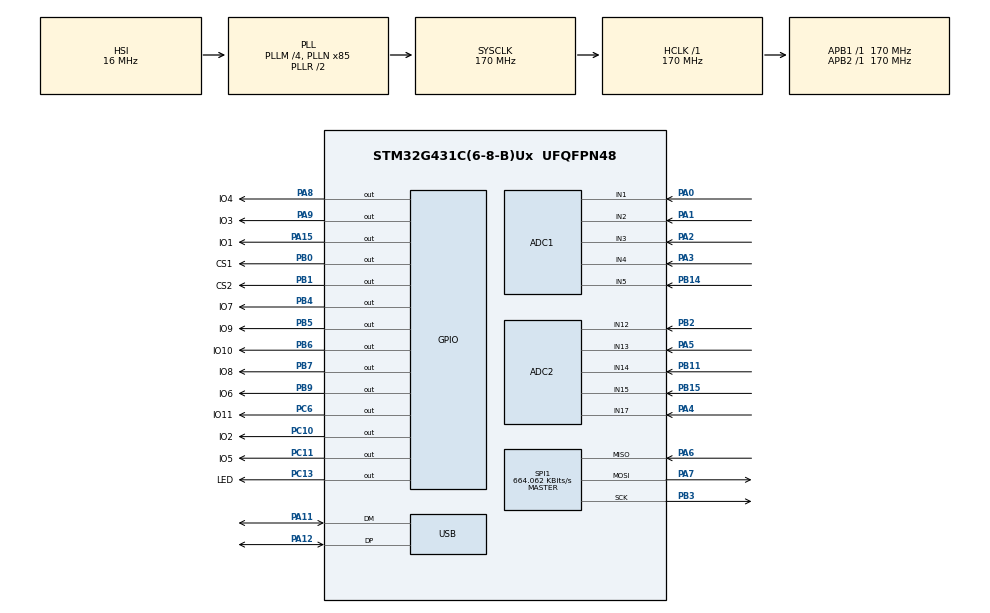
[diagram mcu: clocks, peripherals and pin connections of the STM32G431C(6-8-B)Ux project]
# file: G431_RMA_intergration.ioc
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ADC1.Channel-0\#ChannelRegularConversion=ADC_CHANNEL_5
ADC1.Channel-1\#ChannelRegularConversion=ADC_CHANNEL_1
ADC1.Channel-2\#ChannelRegularConversion=ADC_CHANNEL_2
ADC1.Channel-3\#ChannelRegularConversion=ADC_CHANNEL_3
ADC1.Channel-4\#ChannelRegularConversion=ADC_CHANNEL_4
ADC1.ContinuousConvMode=ENABLE
ADC1.DMAContinuousRequests=ENABLE
ADC1.NbrOfConversion=5
ADC1.NbrOfConversionFlag=1
ADC1.OffsetNumber-0\#ChannelRegularConversion=ADC_OFFSET_NONE
ADC1.OffsetNumber-1\#ChannelRegularConversion=ADC_OFFSET_NONE
ADC1.OffsetNumber-2\#ChannelRegularConversion=ADC_OFFSET_NONE
ADC1.OffsetNumber-3\#ChannelRegularConversion=ADC_OFFSET_NONE
ADC1.OffsetNumber-4\#ChannelRegularConversion=ADC_OFFSET_NONE
ADC1.Rank-0\#ChannelRegularConversion=1
ADC1.Rank-1\#ChannelRegularConversion=2
ADC1.Rank-2\#ChannelRegularConversion=3
ADC1.Rank-3\#ChannelRegularConversion=4
ADC1.Rank-4\#ChannelRegularConversion=5
ADC1.SamplingTime-0\#ChannelRegularConversion=ADC_SAMPLETIME_92CYCLES_5
ADC1.SamplingTime-1\#ChannelRegularConversion=ADC_SAMPLETIME_92CYCLES_5
ADC1.SamplingTime-2\#ChannelRegularConversion=ADC_SAMPLETIME_92CYCLES_5
ADC1.SamplingTime-3\#ChannelRegularConversion=ADC_SAMPLETIME_92CYCLES_5
ADC1.SamplingTime-4\#ChannelRegularConversion=ADC_SAMPLETIME_92CYCLES_5
ADC1.master=1
ADC2.Channel-0\#ChannelRegularConversion=ADC_CHANNEL_15
ADC2.Channel-1\#ChannelRegularConversion=ADC_CHANNEL_14
ADC2.Channel-2\#ChannelRegularConversion=ADC_CHANNEL_12
ADC2.Channel-3\#ChannelRegularConversion=ADC_CHANNEL_13
ADC2.Channel-4\#ChannelRegularConversion=ADC_CHANNEL_17
ADC2.ContinuousConvMode=ENABLE
ADC2.DMAContinuousRequests=ENABLE
ADC2.NbrOfConversion=5
ADC2.NbrOfConversionFlag=1
ADC2.OffsetNumber-0\#ChannelRegularConversion=ADC_OFFSET_NONE
ADC2.OffsetNumber-1\#ChannelRegularConversion=ADC_OFFSET_NONE
ADC2.OffsetNumber-2\#ChannelRegularConversion=ADC_OFFSET_NONE
ADC2.OffsetNumber-3\#ChannelRegularConversion=ADC_OFFSET_NONE
ADC2.OffsetNumber-4\#ChannelRegularConversion=ADC_OFFSET_NONE
ADC2.Rank-0\#ChannelRegularConversion=1
ADC2.Rank-1\#ChannelRegularConversion=2
ADC2.Rank-2\#ChannelRegularConversion=3
ADC2.Rank-3\#ChannelRegularConversion=4
ADC2.Rank-4\#ChannelRegularConversion=5
ADC2.SamplingTime-0\#ChannelRegularConversion=ADC_SAMPLETIME_92CYCLES_5
ADC2.SamplingTime-1\#ChannelRegularConversion=ADC_SAMPLETIME_92CYCLES_5
ADC2.SamplingTime-2\#ChannelRegularConversion=ADC_SAMPLETIME_92CYCLES_5
ADC2.SamplingTime-3\#ChannelRegularConversion=ADC_SAMPLETIME_92CYCLES_5
ADC2.SamplingTime-4\#ChannelRegularConversion=ADC_SAMPLETIME_92CYCLES_5
Dma.ADC1.1.Direction=DMA_PERIPH_TO_MEMORY
Dma.ADC1.1.EventEnable=DISABLE
Dma.ADC1.1.Instance=DMA2_Channel1
Dma.ADC1.1.MemDataAlignment=DMA_MDATAALIGN_HALFWORD
Dma.ADC1.1.MemInc=DMA_MINC_ENABLE
Dma.ADC1.1.Mode=DMA_CIRCULAR
Dma.ADC1.1.PeriphDataAlignment=DMA_PDATAALIGN_HALFWORD
Dma.ADC1.1.PeriphInc=DMA_PINC_DISABLE
Dma.ADC1.1.Polarity=HAL_DMAMUX_REQ_GEN_RISING
Dma.ADC1.1.Priority=DMA_PRIORITY_LOW
Dma.ADC1.1.RequestNumber=1
Dma.ADC1.1.SignalID=NONE
Dma.ADC1.1.SyncEnable=DISABLE
Dma.ADC1.1.SyncPolarity=HAL_DMAMUX_SYNC_NO_EVENT
Dma.ADC1.1.SyncRequestNumber=1
Dma.ADC1.1.SyncSignalID=NONE
Dma.ADC2.0.Direction=DMA_PERIPH_TO_MEMORY
Dma.ADC2.0.EventEnable=DISABLE
Dma.ADC2.0.Instance=DMA1_Channel1
Dma.ADC2.0.MemDataAlignment=DMA_MDATAALIGN_HALFWORD
Dma.ADC2.0.MemInc=DMA_MINC_ENABLE
Dma.ADC2.0.Mode=DMA_CIRCULAR
Dma.ADC2.0.PeriphDataAlignment=DMA_PDATAALIGN_HALFWORD
Dma.ADC2.0.PeriphInc=DMA_PINC_DISABLE
Dma.ADC2.0.Polarity=HAL_DMAMUX_REQ_GEN_RISING
Dma.ADC2.0.Priority=DMA_PRIORITY_LOW
Dma.ADC2.0.RequestNumber=1
Dma.ADC2.0.SignalID=NONE
Dma.ADC2.0.SyncEnable=DISABLE
Dma.ADC2.0.SyncPolarity=HAL_DMAMUX_SYNC_NO_EVENT
Dma.ADC2.0.SyncRequestNumber=1
Dma.ADC2.0.SyncSignalID=NONE
Dma.Request0=ADC2
Dma.Request1=ADC1
FREERTOS.BinarySemaphores01=dataBinarySem,Dynamic,NULL
FREERTOS.INCLUDE_vTaskDelayUntil=1
FREERTOS.Tasks01=defaultTask,0,1024,StartDefaultTask,Default,NULL,Dynamic,NULL,NULL;sampleTask,2,128,SampleTask,Default,NULL,Dynamic,NULL,NULL
FREERTOS.configENABLE_FPU=0
FREERTOS.configTOTAL_HEAP_SIZE=10240
Mcu.Family=STM32G4
Mcu.Name=STM32G431C(6-8-B)Ux
Mcu.Package=UFQFPN48
NVIC.DMA1_Channel1_IRQn=true\:5\:0\:false\:false\:true\:true\:false\:true\:true
NVIC.DMA2_Channel1_IRQn=true\:5\:0\:false\:false\:true\:true\:false\:true\:true
NVIC.PriorityGroup=NVIC_PRIORITYGROUP_4
NVIC.TIM1_TRG_COM_TIM17_IRQn=true\:15\:0\:false\:false\:true\:false\:false\:true\:true
NVIC.TimeBase=TIM1_TRG_COM_TIM17_IRQn
NVIC.TimeBaseIP=TIM17
NVIC.USB_LP_IRQn=true\:5\:0\:false\:false\:true\:true\:false\:true\:true
PA0.Mode=IN1-Single-Ended
PA0.Signal=ADC1_IN1
PA1.Mode=IN2-Single-Ended
PA1.Signal=ADC1_IN2
PA11.Mode=Device
PA11.Signal=USB_DM
PA12.Mode=Device
PA12.Signal=USB_DP
PA13.Mode=Serial_Wire
PA13.Signal=SYS_JTMS-SWDIO
PA14.Mode=Serial_Wire
PA14.Signal=SYS_JTCK-SWCLK
PA15.GPIO_Label=IO1
PA15.GPIO_ModeDefaultOutputPP=GPIO_MODE_OUTPUT_PP
PA15.GPIO_PuPd=GPIO_PULLUP
PA15.GPIO_Speed=GPIO_SPEED_FREQ_VERY_HIGH
PA15.PinState=GPIO_PIN_SET
PA15.Signal=GPIO_Output
PA2.Mode=IN3-Single-Ended
PA2.Signal=ADC1_IN3
PA3.Mode=IN4-Single-Ended
PA3.Signal=ADC1_IN4
PA4.Mode=IN17-Single-Ended
PA4.Signal=ADC2_IN17
PA5.Mode=IN13-Single-Ended
PA5.Signal=ADC2_IN13
PA6.Mode=Full_Duplex_Master
PA6.Signal=SPI1_MISO
PA7.Mode=Full_Duplex_Master
PA7.Signal=SPI1_MOSI
PA8.GPIO_Label=IO4
PA8.GPIO_ModeDefaultOutputPP=GPIO_MODE_OUTPUT_PP
PA8.GPIO_PuPd=GPIO_PULLUP
PA8.GPIO_Speed=GPIO_SPEED_FREQ_VERY_HIGH
PA8.PinState=GPIO_PIN_SET
PA8.Signal=GPIO_Output
PA9.GPIO_Label=IO3
PA9.GPIO_ModeDefaultOutputPP=GPIO_MODE_OUTPUT_PP
PA9.GPIO_PuPd=GPIO_PULLUP
PA9.GPIO_Speed=GPIO_SPEED_FREQ_VERY_HIGH
PA9.PinState=GPIO_PIN_SET
PA9.Signal=GPIO_Output
PB0.GPIO_Label=CS1
PB0.GPIO_PuPd=GPIO_PULLUP
PB0.GPIO_Speed=GPIO_SPEED_FREQ_VERY_HIGH
PB0.PinState=GPIO_PIN_SET
PB0.Signal=GPIO_Output
PB1.GPIO_Label=CS2
PB1.GPIO_PuPd=GPIO_PULLUP
PB1.GPIO_Speed=GPIO_SPEED_FREQ_VERY_HIGH
PB1.PinState=GPIO_PIN_SET
PB1.Signal=GPIO_Output
PB11.Mode=IN14-Single-Ended
PB11.Signal=ADC2_IN14
PB14.Mode=IN5-Single-Ended
PB14.Signal=ADC1_IN5
PB15.Mode=IN15-Single-Ended
PB15.Signal=ADC2_IN15
PB2.Mode=IN12-Single-Ended
PB2.Signal=ADC2_IN12
PB3.Mode=Full_Duplex_Master
PB3.Signal=SPI1_SCK
PB4.GPIO_Label=IO7
PB4.GPIO_ModeDefaultOutputPP=GPIO_MODE_OUTPUT_PP
PB4.GPIO_PuPd=GPIO_PULLUP
PB4.GPIO_Speed=GPIO_SPEED_FREQ_VERY_HIGH
PB4.PinState=GPIO_PIN_SET
PB4.Signal=GPIO_Output
PB5.GPIO_Label=IO9
PB5.GPIO_ModeDefaultOutputPP=GPIO_MODE_OUTPUT_PP
PB5.GPIO_PuPd=GPIO_PULLUP
PB5.GPIO_Speed=GPIO_SPEED_FREQ_VERY_HIGH
PB5.PinState=GPIO_PIN_SET
PB5.Signal=GPIO_Output
PB6.GPIO_Label=IO10
PB6.GPIO_ModeDefaultOutputPP=GPIO_MODE_OUTPUT_PP
PB6.GPIO_PuPd=GPIO_PULLUP
PB6.GPIO_Speed=GPIO_SPEED_FREQ_VERY_HIGH
PB6.PinState=GPIO_PIN_SET
PB6.Signal=GPIO_Output
PB7.GPIO_Label=IO8
PB7.GPIO_ModeDefaultOutputPP=GPIO_MODE_OUTPUT_PP
PB7.GPIO_PuPd=GPIO_PULLUP
PB7.GPIO_Speed=GPIO_SPEED_FREQ_VERY_HIGH
PB7.PinState=GPIO_PIN_SET
PB7.Signal=GPIO_Output
PB9.GPIO_Label=IO6
PB9.GPIO_ModeDefaultOutputPP=GPIO_MODE_OUTPUT_PP
PB9.GPIO_PuPd=GPIO_PULLUP
PB9.GPIO_Speed=GPIO_SPEED_FREQ_VERY_HIGH
PB9.PinState=GPIO_PIN_SET
PB9.Signal=GPIO_Output
PC10.GPIO_Label=IO2
PC10.GPIO_ModeDefaultOutputPP=GPIO_MODE_OUTPUT_PP
PC10.GPIO_PuPd=GPIO_PULLUP
PC10.GPIO_Speed=GPIO_SPEED_FREQ_VERY_HIGH
PC10.PinState=GPIO_PIN_SET
PC10.Signal=GPIO_Output
PC11.GPIO_Label=IO5
PC11.GPIO_ModeDefaultOutputPP=GPIO_MODE_OUTPUT_PP
PC11.GPIO_PuPd=GPIO_PULLUP
PC11.GPIO_Speed=GPIO_SPEED_FREQ_VERY_HIGH
PC11.PinState=GPIO_PIN_SET
PC11.Signal=GPIO_Output
PC13.GPIO_Label=LED
PC13.GPIO_PuPd=GPIO_PULLUP
PC13.PinState=GPIO_PIN_SET
PC13.Signal=GPIO_Output
PC6.GPIO_Label=IO11
PC6.GPIO_ModeDefaultOutputPP=GPIO_MODE_OUTPUT_PP
PC6.GPIO_PuPd=GPIO_PULLUP
PC6.GPIO_Speed=GPIO_SPEED_FREQ_VERY_HIGH
PC6.PinState=GPIO_PIN_SET
PC6.Signal=GPIO_Output
PF0-OSC_IN.Mode=HSE-External-Oscillator
PF0-OSC_IN.Signal=RCC_OSC_IN
PF1-OSC_OUT.Mode=HSE-External-Oscillator
PF1-OSC_OUT.Signal=RCC_OSC_OUT
ProjectManager.HeapSize=0x100
ProjectManager.StackSize=0x1000
ProjectManager.TargetToolchain=MDK-ARM V5.32
RCC.ADC12Freq_Value=170000000
RCC.AHBFreq_Value=170000000
RCC.APB1Freq_Value=170000000
RCC.APB1TimFreq_Value=170000000
RCC.APB2Freq_Value=170000000
RCC.APB2TimFreq_Value=170000000
RCC.CK48CLockSelection=RCC_USBCLKSOURCE_HSI48
RCC.CortexFreq_Value=170000000
RCC.EXTERNAL_CLOCK_VALUE=12288000
RCC.HCLKFreq_Value=170000000
RCC.HSE_VALUE=8000000
RCC.HSI48_VALUE=48000000
RCC.HSI_VALUE=16000000
RCC.LSE_VALUE=32768
RCC.PLLM=RCC_PLLM_DIV4
RCC.PLLN=85
RCC.SYSCLKFreq_VALUE=170000000
RCC.SYSCLKSource=RCC_SYSCLKSOURCE_PLLCLK
RCC.USBFreq_Value=48000000
RCC.VCOOutputFreq_Value=340000000
SPI1.BaudRatePrescaler=SPI_BAUDRATEPRESCALER_256
SPI1.CalculateBaudRate=664.062 KBits/s
SPI1.DataSize=SPI_DATASIZE_8BIT
SPI1.Direction=SPI_DIRECTION_2LINES
SPI1.Mode=SPI_MODE_MASTER
SPI1.VirtualType=VM_MASTER
TIM7.Prescaler=169
USB_DEVICE.CLASS_NAME_FS=CDC
USB_DEVICE.VirtualMode=Cdc
USB_DEVICE.VirtualModeFS=Cdc_FS
VP_FREERTOS_VS_CMSIS_V1.Mode=CMSIS_V1
VP_SYS_VS_DBSignals.Mode=DisableDeadBatterySignals
VP_SYS_VS_tim17.Mode=TIM17
VP_TIM7_VS_ClockSourceINT.Mode=Enable_Timer
VP_USB_DEVICE_VS_USB_DEVICE_CDC_FS.Mode=CDC_FS
board=custom

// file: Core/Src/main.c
/* USER CODE BEGIN Header */
/**
  ******************************************************************************
  * @file           : main.c
  * @brief          : Main program body
  ******************************************************************************
  * @attention
  *
  * Copyright (c) 2025 STMicroelectronics.
  * All rights reserved.
  *
  * This software is licensed under terms that can be found in the LICENSE file
  * in the root directory of this software component.
  * If no LICENSE file comes with this software, it is provided AS-IS.
  *
  ******************************************************************************
  */
/* USER CODE END Header */
#include "main.h"
#include "cmsis_os.h"
#include "adc.h"
#include "dma.h"
#include "spi.h"
#include "tim.h"
#include "usb_device.h"
#include "gpio.h"

void SystemClock_Config(void);
void MX_FREERTOS_Init(void);

int main(void)
{

  /* MCU Configuration--------------------------------------------------------*/

  /* Reset of all peripherals, Initializes the Flash interface and the Systick. */
  HAL_Init();

  /* Configure the system clock */
  SystemClock_Config();

  /* Initialize all configured peripherals */
  MX_GPIO_Init();
  MX_DMA_Init();
  MX_USB_Device_Init();
  MX_ADC2_Init();
  MX_ADC1_Init();
  MX_SPI1_Init();
  MX_TIM7_Init();
  /* USER CODE BEGIN 2 */
	LL_TIM_SetCounter(TIM7, 0);
//	LL_TIM_EnableIT_UPDATE(TIM7);//start TIM7 IRQ
	LL_TIM_EnableCounter(TIM7);//start TIM7

  /* USER CODE END 2 */

  /* Call init function for freertos objects (in freertos.c) */
  MX_FREERTOS_Init();

  /* Start scheduler */
  osKernelStart();

  /* We should never get here as control is now taken by the scheduler */
  /* Infinite loop */
  while (1)
  {

  }
}

void SystemClock_Config(void)
{
  RCC_OscInitTypeDef RCC_OscInitStruct = {0};
  RCC_ClkInitTypeDef RCC_ClkInitStruct = {0};

  /** Configure the main internal regulator output voltage
  */
  HAL_PWREx_ControlVoltageScaling(PWR_REGULATOR_VOLTAGE_SCALE1_BOOST);

  /** Initializes the RCC Oscillators according to the specified parameters
  * in the RCC_OscInitTypeDef structure.
  */
  RCC_OscInitStruct.OscillatorType = RCC_OSCILLATORTYPE_HSI|RCC_OSCILLATORTYPE_HSI48;
  RCC_OscInitStruct.HSIState = RCC_HSI_ON;
  RCC_OscInitStruct.HSICalibrationValue = RCC_HSICALIBRATION_DEFAULT;
  RCC_OscInitStruct.HSI48State = RCC_HSI48_ON;
  RCC_OscInitStruct.PLL.PLLState = RCC_PLL_ON;
  RCC_OscInitStruct.PLL.PLLSource = RCC_PLLSOURCE_HSI;
  RCC_OscInitStruct.PLL.PLLM = RCC_PLLM_DIV4;
  RCC_OscInitStruct.PLL.PLLN = 85;
  RCC_OscInitStruct.PLL.PLLP = RCC_PLLP_DIV2;
  RCC_OscInitStruct.PLL.PLLQ = RCC_PLLQ_DIV2;
  RCC_OscInitStruct.PLL.PLLR = RCC_PLLR_DIV2;
  if (HAL_RCC_OscConfig(&RCC_OscInitStruct) != HAL_OK)
  {
    Error_Handler();
  }

  /** Initializes the CPU, AHB and APB buses clocks
  */
  RCC_ClkInitStruct.ClockType = RCC_CLOCKTYPE_HCLK|RCC_CLOCKTYPE_SYSCLK
                              |RCC_CLOCKTYPE_PCLK1|RCC_CLOCKTYPE_PCLK2;
  RCC_ClkInitStruct.SYSCLKSource = RCC_SYSCLKSOURCE_PLLCLK;
  RCC_ClkInitStruct.AHBCLKDivider = RCC_SYSCLK_DIV1;
  RCC_ClkInitStruct.APB1CLKDivider = RCC_HCLK_DIV1;
  RCC_ClkInitStruct.APB2CLKDivider = RCC_HCLK_DIV1;

  if (HAL_RCC_ClockConfig(&RCC_ClkInitStruct, FLASH_LATENCY_4) != HAL_OK)
  {
    Error_Handler();
  }
}

void HAL_TIM_PeriodElapsedCallback(TIM_HandleTypeDef *htim)
{
  if (htim->Instance == TIM17) {
    HAL_IncTick();
  }
}

void Error_Handler(void)
{
  __disable_irq();
  while (1)
  {
  }
}

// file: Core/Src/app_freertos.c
/* USER CODE BEGIN Header */
/**
  ******************************************************************************
  * File Name          : app_freertos.c
  * Description        : Code for freertos applications
  ******************************************************************************
  * @attention
  *
  * Copyright (c) 2025 STMicroelectronics.
  * All rights reserved.
  *
  * This software is licensed under terms that can be found in the LICENSE file
  * in the root directory of this software component.
  * If no LICENSE file comes with this software, it is provided AS-IS.
  *
  ******************************************************************************
  */
/* USER CODE END Header */

#include "FreeRTOS.h"
#include "task.h"
#include "main.h"
#include "cmsis_os.h"

osThreadId defaultTaskHandle;
osThreadId sampleTaskHandle;
osSemaphoreId dataBinarySemHandle;

void StartDefaultTask(void const * argument);
void SampleTask(void const * argument);

void MX_FREERTOS_Init(void); /* (MISRA C 2004 rule 8.1) */

void MX_FREERTOS_Init(void) {

  /* Create the semaphores(s) */
  /* definition and creation of dataBinarySem */
  osSemaphoreDef(dataBinarySem);
  dataBinarySemHandle = osSemaphoreCreate(osSemaphore(dataBinarySem), 1);

  /* Create the thread(s) */
  /* definition and creation of defaultTask */
  osThreadDef(defaultTask, StartDefaultTask, osPriorityNormal, 0, 1024);
  defaultTaskHandle = osThreadCreate(osThread(defaultTask), NULL);

  /* definition and creation of sampleTask */
  osThreadDef(sampleTask, SampleTask, osPriorityHigh, 0, 128);
  sampleTaskHandle = osThreadCreate(osThread(sampleTask), NULL);

}

/* USER CODE BEGIN Header_StartDefaultTask */
/**
  * @brief  Function implementing the defaultTask thread.
  * @param  argument: Not used
  * @retval None
  */
typedef struct
{
	uint16_t IN2;//adc1
	uint16_t IN7;
	uint16_t IN8;
	uint16_t IN9;
	uint16_t IN10;
	uint16_t IN1;//adc2
	uint16_t IN3;
	uint16_t IN4;
	uint16_t IN5;
	uint16_t IN6;

}Adc_IN_Struct;
Adc_IN_Struct adc_value_struct;
uint16_t adc1_value[5];
//0:PB14 IN2
//1:PA0  IN7
//2:PA1  IN8
//3:PA2  IN9
//4:PA3  IN10
uint16_t adc2_value[5];
//0:PB15 IN1
//1:PB11 IN3
//2:PB2  IN4
//3:PA5  IN5
//4:PA4  IN6

uint16_t samp_data[11][10];
uint16_t samp_data_INC[11][10];
volatile Word_union res_data_1[2104];
volatile Word_union res_data_2[2104];
volatile Word_union* res_send_p=res_data_1;
volatile Word_union* res_store_p=res_data_2;

#define SHOW_USB_DATA 0U
/* USER CODE END Header_StartDefaultTask */
void StartDefaultTask(void const * argument)
{
  /* USER CODE BEGIN StartDefaultTask */
	char usb_TxBuf[3048]={0};

	static unsigned long long index = 1;          // 数据帧索引
	static double res_ref_kOm1  = 2.082;  //2082Ω 2.082   51.1
	static double res_ref_kOm2  = 2.093;  //2093Ω 2.093   51.2
	static double res_ref_kOm3  = 2.095;  //2095Ω 2.095   51.2
	static double res_ref_kOm4  = 2.088;  //2088Ω 2.088   51.1
	static double res_ref_kOm5  = 2.082;  //2082Ω 2.082   51.1
	static double res_ref_kOm6  = 1.985;  //1985Ω 1.985   49.1
	static double res_ref_kOm7  = 1.987;  //1987Ω 1.987   48.7
	static double res_ref_kOm8  = 1.987;  //1987Ω 1.987   49.0
	static double res_ref_kOm9  = 1.988;  //1988Ω 1.988   48.8
	static double res_ref_kOm10 = 1.990;  //1990Ω 1.990   48.9

  /* Infinite loop */
	for(;;)
	{
		HAL_GPIO_TogglePin(LED_GPIO_Port,LED_Pin);

//		sprintf(usb_TxBuf,"IN1:%d ,IN2:%d ,IN3:%d ,IN4:%d ,IN5:%d ,IN6:%d ,IN7:%d ,IN8:%d ,IN9:%d ,IN10:%d\r\n",
//			adc_value_struct.IN1,adc_value_struct.IN2,adc_value_struct.IN3,adc_value_struct.IN4,adc_value_struct.IN5,
//			adc_value_struct.IN6,adc_value_struct.IN7,adc_value_struct.IN8,adc_value_struct.IN9,adc_value_struct.IN10);
//		CDC_Transmit_FS((uint8_t *)usb_TxBuf,strlen(usb_TxBuf));

#if SHOW_USB_DATA == 1U
		if(osSemaphoreWait(dataBinarySemHandle, 0) == osOK)
		{
			// 格式化数据帧（示例：每行11通道，共10组）
			sprintf((char *)usb_TxBuf,
					"Frame %02llu: \r\n",
					index++);

			for (uint8_t i = 0; i < 11; i++) {
				sprintf((char *)usb_TxBuf + strlen((char *)usb_TxBuf),
					"line:%2d:%4d %4d %4d %4d %4d %4d %4d %4d %4d %4d \r\n",
						i+1,
						samp_data[i][0], samp_data[i][1], samp_data[i][2],
						samp_data[i][3], samp_data[i][4], samp_data[i][5],
						samp_data[i][6], samp_data[i][7], samp_data[i][8],
						samp_data[i][9]);
			}
			sprintf((char *)usb_TxBuf + strlen((char *)usb_TxBuf),
					"value: (kOm)\r\nRMA\r\n");
			/* 普通RMA */
			for (uint8_t i = 0; i < 11; i++) {
				sprintf((char *)usb_TxBuf + strlen((char *)usb_TxBuf),
					"line:%2d:%2.3f  %2.3f  %2.3f  %2.3f  %2.3f  %2.3f  %2.3f  %2.3f  %2.3f  %2.3f \r\n", //ADC多通道串扰体现在行串扰(单个line中)，RMA电压注入不理想体现在列串扰(不同line之间)
						i+1,
						(4095-samp_data[0][0])/(double)(4095-samp_data[i][0])*res_ref_kOm1, (4095-samp_data[0][1])/(double)(4095-samp_data[i][1])*res_ref_kOm2, (4095-samp_data[0][2])/(double)(4095-samp_data[i][2])*res_ref_kOm3,
						(4095-samp_data[0][3])/(double)(4095-samp_data[i][3])*res_ref_kOm4, (4095-samp_data[0][4])/(double)(4095-samp_data[i][4])*res_ref_kOm5, (4095-samp_data[0][5])/(double)(4095-samp_data[i][5])*res_ref_kOm6,
						(4095-samp_data[0][6])/(double)(4095-samp_data[i][6])*res_ref_kOm7, (4095-samp_data[0][7])/(double)(4095-samp_data[i][7])*res_ref_kOm8, (4095-samp_data[0][8])/(double)(4095-samp_data[i][8])*res_ref_kOm9,
						(4095-samp_data[0][9])/(double)(4095-samp_data[i][9])*res_ref_kOm10);
			}
			/* INCRMA */
			sprintf((char *)usb_TxBuf + strlen((char *)usb_TxBuf),"INCRMA\r\n");
			for (uint8_t i = 1; i < 11; i++) {
				sprintf((char *)usb_TxBuf + strlen((char *)usb_TxBuf),
					"line:%2d:%02.3f  %2.3f  %2.3f  %2.3f  %2.3f  %2.3f  %2.3f  %2.3f  %2.3f  %2.3f \r\n",
						i,
						(samp_data[i][0]-samp_data_INC[i][0])/(double)(samp_data[0][0]-samp_data_INC[i][0])*res_ref_kOm1,
						(samp_data[i][1]-samp_data_INC[i][1])/(double)(samp_data[0][1]-samp_data_INC[i][1])*res_ref_kOm2,
						(samp_data[i][2]-samp_data_INC[i][2])/(double)(samp_data[0][2]-samp_data_INC[i][2])*res_ref_kOm3,
						(samp_data[i][3]-samp_data_INC[i][3])/(double)(samp_data[0][3]-samp_data_INC[i][3])*res_ref_kOm4,
						(samp_data[i][4]-samp_data_INC[i][4])/(double)(samp_data[0][4]-samp_data_INC[i][4])*res_ref_kOm5,
						(samp_data[i][5]-samp_data_INC[i][5])/(double)(samp_data[0][5]-samp_data_INC[i][5])*res_ref_kOm6,
						(samp_data[i][6]-samp_data_INC[i][6])/(double)(samp_data[0][6]-samp_data_INC[i][6])*res_ref_kOm7,
						(samp_data[i][7]-samp_data_INC[i][7])/(double)(samp_data[0][7]-samp_data_INC[i][7])*res_ref_kOm8,
						(samp_data[i][8]-samp_data_INC[i][8])/(double)(samp_data[0][8]-samp_data_INC[i][8])*res_ref_kOm9,
						(samp_data[i][9]-samp_data_INC[i][9])/(double)(samp_data[0][9]-samp_data_INC[i][9])*res_ref_kOm10
						);
			}

			CDC_Transmit_FS((uint8_t *)usb_TxBuf, strlen((char *)usb_TxBuf));//USB CDC

			osSemaphoreRelease(dataBinarySemHandle);
		}
#endif
		osDelay(500);
	}
  /* USER CODE END StartDefaultTask */
}

void SampleTask(void const * argument)
{
  /* USER CODE BEGIN SampleTask */
	TickType_t xLastWakeTime;
    const TickType_t xFrequency = pdMS_TO_TICKS(1);  // 1秒周期[6](@ref)

	osSemaphoreWait(dataBinarySemHandle, osWaitForever);

	select_switcher_all_high();
	AD5206_SetResistance(1,3,5);//IN1-OUT11  5:2082Ω  12:4.92kΩ  25:10.20kΩ  125:51.1kΩ
	AD5206_SetResistance(1,1,5);//IN2-OUT11  5:2093Ω  12:4.95kΩ  25:10.29kΩ  125:51.2kΩ
	AD5206_SetResistance(1,0,5);//IN3-OUT11  5:2095Ω  12:4.95kΩ  25:10.32kΩ  125:51.2kΩ
	AD5206_SetResistance(1,2,5);//IN4-OUT11  5:2088Ω  12:4.94kΩ  25:10.35kΩ  125:51.1kΩ
	AD5206_SetResistance(1,5,5);//IN5-OUT11  5:2082Ω  12:4.94kΩ  25:10.25kΩ  125:51.1kΩ
	AD5206_SetResistance(0,5,5);//IN6-OUT11  5:1985Ω  12:4.73kΩ  25:9.82kΩ   125:49.1kΩ
	AD5206_SetResistance(0,3,5);//IN7-OUT11  5:1987Ω  12:4.74kΩ  25:9.74kΩ   125:48.7kΩ
	AD5206_SetResistance(0,1,5);//IN8-OUT11  5:1987Ω  12:4.72kΩ  25:9.81kΩ   125:49.0kΩ
	AD5206_SetResistance(0,0,5);//IN9-OUT11  5:1988Ω  12:4.73kΩ  25:9.77kΩ   125:48.8kΩ
	AD5206_SetResistance(0,2,5);//IN10-OUT11 5:1990Ω  12:4.75kΩ  25:9.78kΩ   125:48.9kΩ

	//  1/42.5MHz*(640.5+12.5=653)cycles *5ch = 76.8235us    ADC转换时配置为 640.5cycles
	//  1/42.5MHz*(247.5+12.5=260)cycles *5ch = 30.5882us    ADC转换时配置为 247.5cycles
	//  1/42.5MHz*(92.5+12.5=105 )cycles *5ch = 12.3530us    ADC转换时配置为 92.5cycles

	HAL_ADC_Start_DMA(&hadc1, (uint32_t *)(&(adc_value_struct.IN2)), 5);
	HAL_ADC_Start_DMA(&hadc2, (uint32_t *)(&(adc_value_struct.IN1)), 5);

	osSemaphoreRelease(dataBinarySemHandle);

	res_data_1[0].byte[0]=0x55;//帧头
	res_data_1[0].byte[1]=0xAA;
	res_data_1[1].byte[0]=0xBB;
	res_data_1[1].byte[1]=0xCC;
	for(uint16_t i=0;i<2100;i++)
	{
//		res_send_p[2+i].word16=i*1+1;
		res_data_1[2+i].word16=i*1+1;
	}
	res_data_1[2102].byte[0]=0xAA;//帧尾
	res_data_1[2102].byte[1]=0x55;
	res_data_1[2103].byte[0]=0x66;
	res_data_1[2103].byte[1]=0x77;

	res_data_2[0].byte[0]=0x55;//帧头
	res_data_2[0].byte[1]=0xAA;
	res_data_2[1].byte[0]=0xBB;
	res_data_2[1].byte[1]=0xCC;
	for(uint16_t i=0;i<2100;i++)
	{
		res_data_2[2+i].word16=i*2+2;
	}
	res_data_2[2102].byte[0]=0xAA;//帧尾
	res_data_2[2102].byte[1]=0x55;
	res_data_2[2103].byte[0]=0x66;
	res_data_2[2103].byte[1]=0x77;

	const uint16_t delay_time_us = 30;//采样等待时间
	xLastWakeTime = xTaskGetTickCount();  // 初始化基准时间[2](@ref)
  /* Infinite loop */
	for(;;)
	{
		for(uint8_t j=0;j<10;j++)
		{
			if(osSemaphoreWait(dataBinarySemHandle, 0) == osOK)//		osSemaphoreWait(dataBinarySemHandle, osWaitForever);
			{
				for(uint8_t i=0;i<21;i++)
				{
					select_switcher2(i);
					user_delaynus_tim(delay_time_us);
					if(i==0)//普通RMA部分
					{
						//+2是为了跳过帧头
						res_store_p[j*210+i*10+0+2].word16=adc_value_struct.IN1;
						res_store_p[j*210+i*10+1+2].word16=adc_value_struct.IN2;
						res_store_p[j*210+i*10+2+2].word16=adc_value_struct.IN3;
						res_store_p[j*210+i*10+3+2].word16=adc_value_struct.IN4;
						res_store_p[j*210+i*10+4+2].word16=adc_value_struct.IN5;
						res_store_p[j*210+i*10+5+2].word16=adc_value_struct.IN6;
						res_store_p[j*210+i*10+6+2].word16=adc_value_struct.IN7;
						res_store_p[j*210+i*10+7+2].word16=adc_value_struct.IN8;
						res_store_p[j*210+i*10+8+2].word16=adc_value_struct.IN9;
						res_store_p[j*210+i*10+9+2].word16=adc_value_struct.IN10;
						#if SHOW_USB_DATA == 1U
							samp_data[i][0]=res_store_p[j*210+i*10+0+2].word16;
							samp_data[i][1]=res_store_p[j*210+i*10+1+2].word16;
							samp_data[i][2]=res_store_p[j*210+i*10+2+2].word16;
							samp_data[i][3]=res_store_p[j*210+i*10+3+2].word16;
							samp_data[i][4]=res_store_p[j*210+i*10+4+2].word16;
							samp_data[i][5]=res_store_p[j*210+i*10+5+2].word16;
							samp_data[i][6]=res_store_p[j*210+i*10+6+2].word16;
							samp_data[i][7]=res_store_p[j*210+i*10+7+2].word16;
							samp_data[i][8]=res_store_p[j*210+i*10+8+2].word16;
							samp_data[i][9]=res_store_p[j*210+i*10+9+2].word16;
						#endif
					}
					else if(i%2==1)//普通RMA部分
					{
						//+2是为了跳过帧头
						res_store_p[j*210+((i+1)/2)*10+0+2].word16=adc_value_struct.IN1;
						res_store_p[j*210+((i+1)/2)*10+1+2].word16=adc_value_struct.IN2;
						res_store_p[j*210+((i+1)/2)*10+2+2].word16=adc_value_struct.IN3;
						res_store_p[j*210+((i+1)/2)*10+3+2].word16=adc_value_struct.IN4;
						res_store_p[j*210+((i+1)/2)*10+4+2].word16=adc_value_struct.IN5;
						res_store_p[j*210+((i+1)/2)*10+5+2].word16=adc_value_struct.IN6;
						res_store_p[j*210+((i+1)/2)*10+6+2].word16=adc_value_struct.IN7;
						res_store_p[j*210+((i+1)/2)*10+7+2].word16=adc_value_struct.IN8;
						res_store_p[j*210+((i+1)/2)*10+8+2].word16=adc_value_struct.IN9;
						res_store_p[j*210+((i+1)/2)*10+9+2].word16=adc_value_struct.IN10;
						#if SHOW_USB_DATA == 1U
							samp_data[((i+1)/2)][0]=res_store_p[j*210+((i+1)/2)*10+0+2].word16;
							samp_data[((i+1)/2)][1]=res_store_p[j*210+((i+1)/2)*10+1+2].word16;
							samp_data[((i+1)/2)][2]=res_store_p[j*210+((i+1)/2)*10+2+2].word16;
							samp_data[((i+1)/2)][3]=res_store_p[j*210+((i+1)/2)*10+3+2].word16;
							samp_data[((i+1)/2)][4]=res_store_p[j*210+((i+1)/2)*10+4+2].word16;
							samp_data[((i+1)/2)][5]=res_store_p[j*210+((i+1)/2)*10+5+2].word16;
							samp_data[((i+1)/2)][6]=res_store_p[j*210+((i+1)/2)*10+6+2].word16;
							samp_data[((i+1)/2)][7]=res_store_p[j*210+((i+1)/2)*10+7+2].word16;
							samp_data[((i+1)/2)][8]=res_store_p[j*210+((i+1)/2)*10+8+2].word16;
							samp_data[((i+1)/2)][9]=res_store_p[j*210+((i+1)/2)*10+9+2].word16;
						#endif
					}
					else//INCRMA部分
					{
						//+2是为了跳过帧头
						res_store_p[j*210+(i/2+10)*10+0+2].word16=adc_value_struct.IN1;
						res_store_p[j*210+(i/2+10)*10+1+2].word16=adc_value_struct.IN2;
						res_store_p[j*210+(i/2+10)*10+2+2].word16=adc_value_struct.IN3;
						res_store_p[j*210+(i/2+10)*10+3+2].word16=adc_value_struct.IN4;
						res_store_p[j*210+(i/2+10)*10+4+2].word16=adc_value_struct.IN5;
						res_store_p[j*210+(i/2+10)*10+5+2].word16=adc_value_struct.IN6;
						res_store_p[j*210+(i/2+10)*10+6+2].word16=adc_value_struct.IN7;
						res_store_p[j*210+(i/2+10)*10+7+2].word16=adc_value_struct.IN8;
						res_store_p[j*210+(i/2+10)*10+8+2].word16=adc_value_struct.IN9;
						res_store_p[j*210+(i/2+10)*10+9+2].word16=adc_value_struct.IN10;
						#if SHOW_USB_DATA == 1U
							samp_data_INC[i/2][0]=res_store_p[j*210+(i/2+10)*10+0+2].word16;
							samp_data_INC[i/2][1]=res_store_p[j*210+(i/2+10)*10+1+2].word16;
							samp_data_INC[i/2][2]=res_store_p[j*210+(i/2+10)*10+2+2].word16;
							samp_data_INC[i/2][3]=res_store_p[j*210+(i/2+10)*10+3+2].word16;
							samp_data_INC[i/2][4]=res_store_p[j*210+(i/2+10)*10+4+2].word16;
							samp_data_INC[i/2][5]=res_store_p[j*210+(i/2+10)*10+5+2].word16;
							samp_data_INC[i/2][6]=res_store_p[j*210+(i/2+10)*10+6+2].word16;
							samp_data_INC[i/2][7]=res_store_p[j*210+(i/2+10)*10+7+2].word16;
							samp_data_INC[i/2][8]=res_store_p[j*210+(i/2+10)*10+8+2].word16;
							samp_data_INC[i/2][9]=res_store_p[j*210+(i/2+10)*10+9+2].word16;
						#endif
					}
				}

//				/* 普通RMA */
//				for(uint8_t i=0;i<11;i++)
//				{
//					select_switcher3(i);
//					user_delaynus_tim(delay_time_us);
//					//+2是为了跳过帧头
//					res_store_p[j*210+i*10+0+2].word16=adc_value_struct.IN1;
//					res_store_p[j*210+i*10+1+2].word16=adc_value_struct.IN2;
//					res_store_p[j*210+i*10+2+2].word16=adc_value_struct.IN3;
//					res_store_p[j*210+i*10+3+2].word16=adc_value_struct.IN4;
//					res_store_p[j*210+i*10+4+2].word16=adc_value_struct.IN5;
//					res_store_p[j*210+i*10+5+2].word16=adc_value_struct.IN6;
//					res_store_p[j*210+i*10+6+2].word16=adc_value_struct.IN7;
//					res_store_p[j*210+i*10+7+2].word16=adc_value_struct.IN8;
//					res_store_p[j*210+i*10+8+2].word16=adc_value_struct.IN9;
//					res_store_p[j*210+i*10+9+2].word16=adc_value_struct.IN10;
//					#if SHOW_USB_DATA == 1U
//						samp_data[i][0]=res_store_p[j*210+i*10+0+2].word16;
//						samp_data[i][1]=res_store_p[j*210+i*10+1+2].word16;
//						samp_data[i][2]=res_store_p[j*210+i*10+2+2].word16;
//						samp_data[i][3]=res_store_p[j*210+i*10+3+2].word16;
//						samp_data[i][4]=res_store_p[j*210+i*10+4+2].word16;
//						samp_data[i][5]=res_store_p[j*210+i*10+5+2].word16;
//						samp_data[i][6]=res_store_p[j*210+i*10+6+2].word16;
//						samp_data[i][7]=res_store_p[j*210+i*10+7+2].word16;
//						samp_data[i][8]=res_store_p[j*210+i*10+8+2].word16;
//						samp_data[i][9]=res_store_p[j*210+i*10+9+2].word16;
//					#endif
//				}
//				/* INCRMA */
//				for(uint8_t i=11;i<21;i++)
//				{
//					select_switcher3(i);
//					user_delaynus_tim(delay_time_us);
//					//+2是为了跳过帧头
//					res_store_p[j*210+i*10+0+2].word16=adc_value_struct.IN1;
//					res_store_p[j*210+i*10+1+2].word16=adc_value_struct.IN2;
//					res_store_p[j*210+i*10+2+2].word16=adc_value_struct.IN3;
//					res_store_p[j*210+i*10+3+2].word16=adc_value_struct.IN4;
//					res_store_p[j*210+i*10+4+2].word16=adc_value_struct.IN5;
//					res_store_p[j*210+i*10+5+2].word16=adc_value_struct.IN6;
//					res_store_p[j*210+i*10+6+2].word16=adc_value_struct.IN7;
//					res_store_p[j*210+i*10+7+2].word16=adc_value_struct.IN8;
//					res_store_p[j*210+i*10+8+2].word16=adc_value_struct.IN9;
//					res_store_p[j*210+i*10+9+2].word16=adc_value_struct.IN10;
//					#if SHOW_USB_DATA == 1U
//						samp_data_INC[i-10][0]=res_store_p[j*210+i*10+0+2].word16;
//						samp_data_INC[i-10][1]=res_store_p[j*210+i*10+1+2].word16;
//						samp_data_INC[i-10][2]=res_store_p[j*210+i*10+2+2].word16;
//						samp_data_INC[i-10][3]=res_store_p[j*210+i*10+3+2].word16;
//						samp_data_INC[i-10][4]=res_store_p[j*210+i*10+4+2].word16;
//						samp_data_INC[i-10][5]=res_store_p[j*210+i*10+5+2].word16;
//						samp_data_INC[i-10][6]=res_store_p[j*210+i*10+6+2].word16;
//						samp_data_INC[i-10][7]=res_store_p[j*210+i*10+7+2].word16;
//						samp_data_INC[i-10][8]=res_store_p[j*210+i*10+8+2].word16;
//						samp_data_INC[i-10][9]=res_store_p[j*210+i*10+9+2].word16;
//					#endif
//				}
				IO11_GPIO_Port->BSRR=IO11_Pin;//高电平
				IO10_GPIO_Port->BSRR=IO10_Pin;//高电平
				osSemaphoreRelease(dataBinarySemHandle);
			}
			vTaskDelayUntil(&xLastWakeTime, xFrequency);//		osDelay(1);  vTaskSuspend(NULL);          // 挂起当前任务（自身）
		}
		#if SHOW_USB_DATA == 0U
			exchange_res_p();//切换缓存区
			CDC_Transmit_FS(res_send_p->byte, 4208);//2008
		#endif

//		osDelay(1000);
	}
  /* USER CODE END SampleTask */
}

/* USER CODE BEGIN Application */
//电压采集完成之后需要进行缓存切换
void exchange_res_p(void)
{
	static uint8_t state=1;//第一次运行该函数前 采集的数据存到res_data_2   第一次运行该函数后状态变为0，发送的指针指向res_data_1  之后循环往复
	state=!state;

	if(state)
	{
		res_send_p=res_data_1;
		res_store_p=res_data_2;
	}
	else
	{
		res_send_p=res_data_2;
		res_store_p=res_data_1;
	}
}

void user_delaynus_tim(uint16_t nus)
{

	LL_TIM_SetCounter(TIM7, 0);
	while (LL_TIM_GetCounter(TIM7) < nus)
	{
		;// Optionally, add a timeout condition here to avoid an infinite loop
	}
}
void select_switcher(uint8_t index)
{
	switch(index)
	{
		case 0:
			IO10_GPIO_Port->BSRR=IO10_Pin;//高电平
			IO11_GPIO_Port->BSRR=(IO11_Pin << 16);//低电平
			break;
		case 1:
			IO11_GPIO_Port->BSRR=IO11_Pin;//高电平
			IO1_GPIO_Port->BSRR =(IO1_Pin << 16);//低电平
			break;
		case 2:
			IO1_GPIO_Port->BSRR=IO1_Pin;//高电平
			IO2_GPIO_Port->BSRR=(IO2_Pin << 16);//低电平
			break;
		case 3:
			IO2_GPIO_Port->BSRR=IO2_Pin;//高电平
			IO3_GPIO_Port->BSRR=(IO3_Pin << 16);//低电平
			break;
		case 4:
			IO3_GPIO_Port->BSRR=IO3_Pin;//高电平
			IO4_GPIO_Port->BSRR=(IO4_Pin << 16);//低电平
			break;
		case 5:
			IO4_GPIO_Port->BSRR=IO4_Pin;//高电平
			IO5_GPIO_Port->BSRR=(IO5_Pin << 16);//低电平
			break;
		case 6:
			IO5_GPIO_Port->BSRR=IO5_Pin;//高电平
			IO6_GPIO_Port->BSRR=(IO6_Pin << 16);//低电平
			break;
		case 7:
			IO6_GPIO_Port->BSRR=IO6_Pin;//高电平
			IO7_GPIO_Port->BSRR=(IO7_Pin << 16);//低电平
			break;
		case 8:
			IO7_GPIO_Port->BSRR=IO7_Pin;//高电平
			IO8_GPIO_Port->BSRR=(IO8_Pin << 16);//低电平
			break;
		case 9:
			IO8_GPIO_Port->BSRR=IO8_Pin;//高电平
			IO9_GPIO_Port->BSRR=(IO9_Pin << 16);//低电平
			break;
		case 10:
			IO9_GPIO_Port->BSRR =IO9_Pin;//高电平
			IO10_GPIO_Port->BSRR=(IO10_Pin << 16);//低电平
			break;
	}
}
void select_switcher2(uint8_t index)
{
	switch(index)
	{
		case 0:
			IO10_GPIO_Port->BSRR=IO10_Pin;//高电平
			IO11_GPIO_Port->BSRR=(IO11_Pin << 16);//低电平
			break;
		case 1:
			IO11_GPIO_Port->BSRR=IO11_Pin;//高电平
			IO1_GPIO_Port->BSRR =(IO1_Pin << 16);//低电平
			break;
		case 3:
			IO11_GPIO_Port->BSRR=IO11_Pin;//高电平
			IO1_GPIO_Port->BSRR=IO1_Pin;//高电平
			IO2_GPIO_Port->BSRR=(IO2_Pin << 16);//低电平
			break;
		case 5:
			IO11_GPIO_Port->BSRR=IO11_Pin;//高电平
			IO2_GPIO_Port->BSRR=IO2_Pin;//高电平
			IO3_GPIO_Port->BSRR=(IO3_Pin << 16);//低电平
			break;
		case 7:
			IO11_GPIO_Port->BSRR=IO11_Pin;//高电平
			IO3_GPIO_Port->BSRR=IO3_Pin;//高电平
			IO4_GPIO_Port->BSRR=(IO4_Pin << 16);//低电平
			break;
		case 9:
			IO11_GPIO_Port->BSRR=IO11_Pin;//高电平
			IO4_GPIO_Port->BSRR=IO4_Pin;//高电平
			IO5_GPIO_Port->BSRR=(IO5_Pin << 16);//低电平
			break;
		case 11:
			IO11_GPIO_Port->BSRR=IO11_Pin;//高电平
			IO5_GPIO_Port->BSRR=IO5_Pin;//高电平
			IO6_GPIO_Port->BSRR=(IO6_Pin << 16);//低电平
			break;
		case 13:
			IO11_GPIO_Port->BSRR=IO11_Pin;//高电平
			IO6_GPIO_Port->BSRR=IO6_Pin;//高电平
			IO7_GPIO_Port->BSRR=(IO7_Pin << 16);//低电平
			break;
		case 15:
			IO11_GPIO_Port->BSRR=IO11_Pin;//高电平
			IO7_GPIO_Port->BSRR=IO7_Pin;//高电平
			IO8_GPIO_Port->BSRR=(IO8_Pin << 16);//低电平
			break;
		case 17:
			IO11_GPIO_Port->BSRR=IO11_Pin;//高电平
			IO8_GPIO_Port->BSRR=IO8_Pin;//高电平
			IO9_GPIO_Port->BSRR=(IO9_Pin << 16);//低电平
			break;
		case 19:
			IO11_GPIO_Port->BSRR=IO11_Pin;//高电平
			IO9_GPIO_Port->BSRR =IO9_Pin;//高电平
			IO10_GPIO_Port->BSRR=(IO10_Pin << 16);//低电平
			break;
		case 2:case 4:case 6:case 8:case 10:case 12:case 14:case 16:case 18:case 20:
			IO11_GPIO_Port->BSRR =(IO11_Pin << 16);//低电平
			break;
	}
}
void select_switcher3(uint8_t index)
{
	switch(index)
	{
		case 0:
			IO10_GPIO_Port->BSRR=IO10_Pin;//高电平
			IO11_GPIO_Port->BSRR=(IO11_Pin << 16);//低电平
			break;
		case 1:
			IO11_GPIO_Port->BSRR=IO11_Pin;//高电平
			IO1_GPIO_Port->BSRR =(IO1_Pin << 16);//低电平
			break;
		case 2:
			IO1_GPIO_Port->BSRR=IO1_Pin;//高电平
			IO2_GPIO_Port->BSRR=(IO2_Pin << 16);//低电平
			break;
		case 3:
			IO2_GPIO_Port->BSRR=IO2_Pin;//高电平
			IO3_GPIO_Port->BSRR=(IO3_Pin << 16);//低电平
			break;
		case 4:
			IO3_GPIO_Port->BSRR=IO3_Pin;//高电平
			IO4_GPIO_Port->BSRR=(IO4_Pin << 16);//低电平
			break;
		case 5:
			IO4_GPIO_Port->BSRR=IO4_Pin;//高电平
			IO5_GPIO_Port->BSRR=(IO5_Pin << 16);//低电平
			break;
		case 6:
			IO5_GPIO_Port->BSRR=IO5_Pin;//高电平
			IO6_GPIO_Port->BSRR=(IO6_Pin << 16);//低电平
			break;
		case 7:
			IO6_GPIO_Port->BSRR=IO6_Pin;//高电平
			IO7_GPIO_Port->BSRR=(IO7_Pin << 16);//低电平
			break;
		case 8:
			IO7_GPIO_Port->BSRR=IO7_Pin;//高电平
			IO8_GPIO_Port->BSRR=(IO8_Pin << 16);//低电平
			break;
		case 9:
			IO8_GPIO_Port->BSRR=IO8_Pin;//高电平
			IO9_GPIO_Port->BSRR=(IO9_Pin << 16);//低电平
			break;
		case 10:
			IO9_GPIO_Port->BSRR =IO9_Pin;//高电平
			IO10_GPIO_Port->BSRR=(IO10_Pin << 16);//低电平
			break;

		//INCRMA 额外采样
		case 11:
			IO11_GPIO_Port->BSRR =(IO11_Pin << 16);//低电平

			IO10_GPIO_Port->BSRR =IO10_Pin;//高电平
			IO1_GPIO_Port->BSRR =(IO1_Pin << 16);//低电平
			break;
		case 12:
			IO1_GPIO_Port->BSRR=IO1_Pin;//高电平
			IO2_GPIO_Port->BSRR=(IO2_Pin << 16);//低电平
			break;
		case 13:
			IO2_GPIO_Port->BSRR=IO2_Pin;//高电平
			IO3_GPIO_Port->BSRR=(IO3_Pin << 16);//低电平
			break;
		case 14:
			IO3_GPIO_Port->BSRR=IO3_Pin;//高电平
			IO4_GPIO_Port->BSRR=(IO4_Pin << 16);//低电平
			break;
		case 15:
			IO4_GPIO_Port->BSRR=IO4_Pin;//高电平
			IO5_GPIO_Port->BSRR=(IO5_Pin << 16);//低电平
			break;
		case 16:
			IO5_GPIO_Port->BSRR=IO5_Pin;//高电平
			IO6_GPIO_Port->BSRR=(IO6_Pin << 16);//低电平
			break;
		case 17:
			IO6_GPIO_Port->BSRR=IO6_Pin;//高电平
			IO7_GPIO_Port->BSRR=(IO7_Pin << 16);//低电平
			break;
		case 18:
			IO7_GPIO_Port->BSRR=IO7_Pin;//高电平
			IO8_GPIO_Port->BSRR=(IO8_Pin << 16);//低电平
			break;
		case 19:
			IO8_GPIO_Port->BSRR=IO8_Pin;//高电平
			IO9_GPIO_Port->BSRR=(IO9_Pin << 16);//低电平
			break;
		case 20:
			IO9_GPIO_Port->BSRR =IO9_Pin;//高电平
			IO10_GPIO_Port->BSRR=(IO10_Pin << 16);//低电平
			break;
	}
}
void select_switcher_all_high(void)
{
	IO1_GPIO_Port->BSRR =IO1_Pin; //高电平
	IO2_GPIO_Port->BSRR =IO2_Pin; //高电平
	IO3_GPIO_Port->BSRR =IO3_Pin; //高电平
	IO4_GPIO_Port->BSRR =IO4_Pin; //高电平
	IO5_GPIO_Port->BSRR =IO5_Pin; //高电平
	IO6_GPIO_Port->BSRR =IO6_Pin; //高电平
	IO7_GPIO_Port->BSRR =IO7_Pin; //高电平
	IO8_GPIO_Port->BSRR =IO8_Pin; //高电平
	IO9_GPIO_Port->BSRR =IO9_Pin; //高电平
	IO10_GPIO_Port->BSRR=IO10_Pin;//高电平
	IO11_GPIO_Port->BSRR=IO11_Pin;//高电平
}
void select_switcher_all_low(void)
{
	IO1_GPIO_Port->BSRR =(IO1_Pin << 16);//低电平
	IO2_GPIO_Port->BSRR =(IO2_Pin << 16);//低电平
	IO3_GPIO_Port->BSRR =(IO3_Pin << 16);//低电平
	IO4_GPIO_Port->BSRR =(IO4_Pin << 16);//低电平
	IO5_GPIO_Port->BSRR =(IO5_Pin << 16);//低电平
	IO6_GPIO_Port->BSRR =(IO6_Pin << 16);//低电平
	IO7_GPIO_Port->BSRR =(IO7_Pin << 16);//低电平
	IO8_GPIO_Port->BSRR =(IO8_Pin << 16);//低电平
	IO9_GPIO_Port->BSRR =(IO9_Pin << 16);//低电平
	IO10_GPIO_Port->BSRR=(IO10_Pin<< 16);//低电平
	IO11_GPIO_Port->BSRR=(IO11_Pin<< 16);//低电平
}
// 设置AD5206的电阻值
// index: 0 1
// channel: 0~5
// resistance: 0~255
void AD5206_SetResistance(uint8_t index, uint8_t channel, uint8_t resistance) {
		uint8_t spi_data[2]={0x00,10};

    // 确保通道和电阻值在有效范围内
    if (channel > 5) return; // AD5206有6个通道，通道号从0到5
    if (resistance > 255) return; // 电阻值应在0到255之间
		if (index!=0 && index!=1) return;

		if(index==0)
			HAL_GPIO_WritePin(CS1_GPIO_Port,CS1_Pin,0);
		else if(index==1)
			HAL_GPIO_WritePin(CS2_GPIO_Port,CS2_Pin,0);

		spi_data[0]=channel;
		spi_data[1]=resistance;

		HAL_SPI_Transmit(&hspi1,spi_data,2,0xffff);
		osDelay(5);
    if(index==0)
		HAL_GPIO_WritePin(CS1_GPIO_Port,CS1_Pin,1);
	else if(index==1)
		HAL_GPIO_WritePin(CS2_GPIO_Port,CS2_Pin,1);
}
/* USER CODE END Application */
